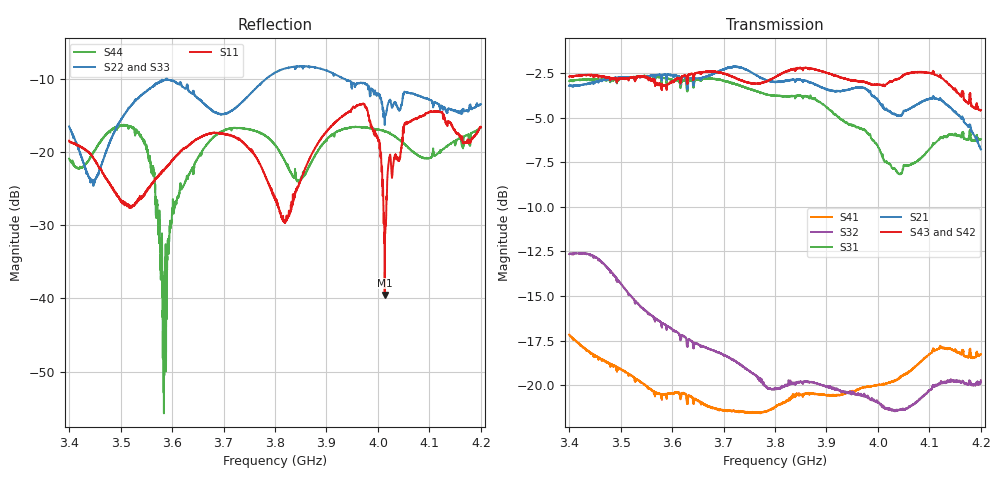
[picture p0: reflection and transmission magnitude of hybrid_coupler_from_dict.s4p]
! Created with skrf (http://scikit-rf.org).
# GHz S RI R 50.0
!freq ReS11 ImS11 ReS12 ImS12 ReS13 ImS13
! ReS14 ImS14
! ReS21 ImS21 ReS22 ImS22 ReS23 ImS23
! ReS24 ImS24
! ReS31 ImS31 ReS32 ImS32 ReS33 ImS33
! ReS34 ImS34
! ReS41 ImS41 ReS42 ImS42 ReS43 ImS43
! ReS44 ImS44
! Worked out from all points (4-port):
!   4501 points, 3.4 GHz to 4.2 GHz, reference 50 ohm
!   strongest paths, dB at 3.4 GHz, 3.6 GHz, 3.8 GHz, 4 GHz, 4.2 GHz:
!     S43: -2.7, -3.0, -2.7, -3.1, -4.6
!     S42: -2.7, -3.0, -2.7, -3.1, -4.6
!     S21: -3.2, -2.6, -3.0, -4.0, -6.8
!     S31: -2.9, -2.9, -3.7, -6.6, -6.2
!     S32: -12.6, -16.9, -20.2, -21.0, -19.7
!     S41: -17.2, -20.5, -21.2, -20.0, -18.3
!   lowest |S11| = -39.6 dB at 4.013 GHz (marker M1), VSWR 1.02, Z = 49 + j0.416 ohm
!   |S11| at or under -10 dB: start of sweep to end of sweep
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3.4  -0.0466 0.1096  -0.5207 -0.4259  -0.4422 0.5363  -0.1286 0.058
     -0.5088 -0.4681  0.0548 -0.1385  -0.217 0.063  -0.5326 0.4573
     -0.4445 0.5579  -0.2309 0.0318  0.0548 -0.1385  -0.5326 0.4573
     -0.1197 0.0696  -0.5632 0.4704  -0.5632 0.4704  0.0632 -0.0639
3.542578  0.0451 0.0215  -0.7 -0.2024  -0.0892 0.7108  -0.0441 0.0844
          -0.7065 -0.1959  -0.2173 -0.1199  -0.0551 0.1746  -0.2104 0.6903
          -0.1154 0.7275  -0.0579 0.154  -0.2173 -0.1199  -0.2104 0.6903
          -0.0499 0.0883  -0.2782 0.6798  -0.2782 0.6798  0.0656 -0.1035
3.584711  0.0736 0.0173  -0.7187 -0.0862  0.0164 0.6958  -0.0339 0.0825
          -0.7383 -0.0901  -0.2168 -0.2221  0.00351 0.1523  -0.1255 0.6369
          0.0139 0.7273  -0.0161 0.1474  -0.2168 -0.2221  -0.1255 0.6369
          -0.0354 0.0875  -0.1901 0.6654  -0.1901 0.6654  0.00471 0.00209
3.681956  0.1179 0.0659  -0.6843 0.1182  0.2309 0.6282  0.0198 0.0891
          -0.7404 0.1158  0.0982 -0.1592  0.059 0.095  0.0371 0.7099
          0.2694 0.67  0.0662 0.1055  0.0982 -0.1592  0.0371 0.7099
          0.0164 0.0847  0.059 0.7545  0.059 0.7545  0.117 0.0494
3.971733  0.1009 -0.1876  -0.3058 0.6048  0.5303 0.0508  0.0918 -0.0288
          -0.2632 0.6297  -0.2353 -0.1788  0.0687 -0.0576  0.6061 0.404
          0.5187 0.0537  0.0663 -0.0652  -0.2353 -0.1788  0.6061 0.404
          0.0948 -0.0272  0.608 0.3673  0.608 0.3673  0.1097 -0.0975
4.013156  -0.00963 0.00424  -0.1923 0.6759  0.444 0.0241  0.0904 -0.0484
          -0.172 0.5694  -0.0988 -0.1161  0.0594 -0.0754  0.6663 0.2954
          0.4217 0.0183  0.0497 -0.0703  -0.0988 -0.1161  0.6663 0.2954
          0.0909 -0.0431  0.6231 0.295  0.6231 0.295  0.0515 -0.1282
4.2  -0.1166 -0.0912  0.2101 0.4307  0.4771 -0.1803  0.0465 -0.123
     0.1934 0.4154  0.0382 0.2083  0.0127 -0.0996  0.6776 -0.213
     0.4715 -0.1328  0.00185 -0.1032  0.0382 0.2083  0.6776 -0.213
     0.0514 -0.1107  0.5696 -0.1585  0.5696 -0.1585  -0.0333 -0.1422
